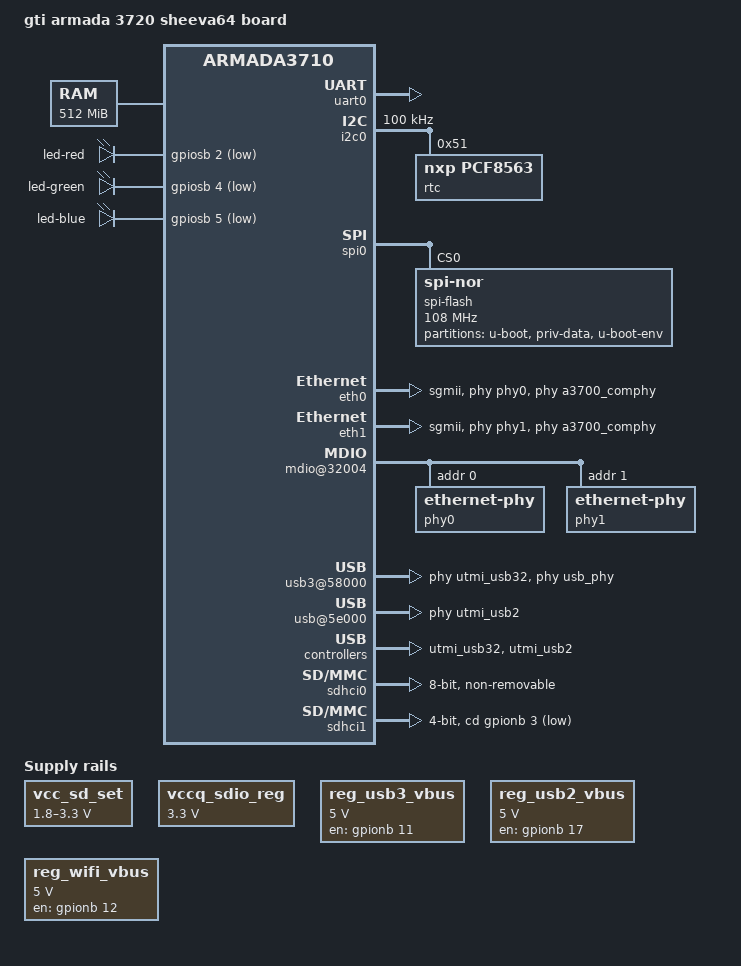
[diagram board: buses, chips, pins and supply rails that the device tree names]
/*
 * Device Tree file for GTI Armada 3720 sheeva64 board
 *
 * Device Tree file for Marvell Armada 3720 community board
 * Copyright (C) 2016 Marvell
 *
 * This file is dual-licensed: you can use it either under the terms
 * of the GPL or the X11 license, at your option. Note that this dual
 * licensing only applies to this file, and not this project as a
 * whole.
 *
 *  a) This file is free software; you can redistribute it and/or
 *     modify it under the terms of the GNU General Public License as
 *     published by the Free Software Foundation; either version 2 of the
 *     License, or (at your option) any later version.
 *
 *     This file is distributed in the hope that it will be useful
 *     but WITHOUT ANY WARRANTY; without even the implied warranty of
 *     MERCHANTABILITY or FITNESS FOR A PARTICULAR PURPOSE.  See the
 *     GNU General Public License for more details.
 *
 * Or, alternatively
 *
 *  b) Permission is hereby granted, free of charge, to any person
 *     obtaining a copy of this software and associated documentation
 *     files (the "Software"), to deal in the Software without
 *     restriction, including without limitation the rights to use
 *     copy, modify, merge, publish, distribute, sublicense, and/or
 *     sell copies of the Software, and to permit persons to whom the
 *     Software is furnished to do so, subject to the following
 *     conditions:
 *
 *     The above copyright notice and this permission notice shall be
 *     included in all copies or substantial portions of the Software.
 *
 *     THE SOFTWARE IS PROVIDED , WITHOUT WARRANTY OF ANY KIND
 *     EXPRESS OR IMPLIED, INCLUDING BUT NOT LIMITED TO THE WARRANTIES
 *     OF MERCHANTABILITY, FITNESS FOR A PARTICULAR PURPOSE AND
 *     NONINFRINGEMENT. IN NO EVENT SHALL THE AUTHORS OR COPYRIGHT
 *     HOLDERS BE LIABLE FOR ANY CLAIM, DAMAGES OR OTHER LIABILITY
 *     WHETHER IN AN ACTION OF CONTRACT, TORT OR OTHERWISE, ARISING
 *     FROM, OUT OF OR IN CONNECTION WITH THE SOFTWARE OR THE USE OR
 *     OTHER DEALINGS IN THE SOFTWARE.
 */

/dts-v1/;

#include "armada-372x.dtsi"

/ {
	model = "gti armada 3720 sheeva64 board";
	compatible = "gti,armada-3720-sheeva64-r5", "gti,armada-3720-sheeva64",
				 "marvell,armada3720", "marvell,armada3710";

	chosen {
		stdout-path = "serial0:115200n8";
	};

	memory {
		device_type = "memory";
		reg = <0x00000000 0x00000000 0x00000000 0x20000000>;
	};

	soc {
		internal-regs {
			uart0: serial@12000 {
				status = "okay";
			};

			i2c0: i2c@11000 {
				status = "okay";
				clock-frequency = <100000>;

				rtc@51 {
					compatible = "nxp,pcf8563";
					reg = <0x51>;
				};
			};

			reg_avs: avs@11500 {
				compatible = "marvell,armada-3700-espressobin-avs";
				status = "okay";
			};

			spi0: spi@10600 {
				pinctrl-names = "default";
				pinctrl-0 = <&spi_quad_pins>;
				status = "okay";

				spi-flash@0 {
					compatible = "jedec,spi-nor";
					reg = <0>;
					spi-max-frequency = <108000000>;
					spi-rx-bus-width = <4>;
					spi-tx-bus-width = <4>;
					m25p,fast-read;

					partitions {
						compatible = "fixed-partitions";
						#address-cells = <1>;
						#size-cells = <1>;
						partition@0 {
							label = "u-boot";
							reg = <0x0 0x3e0000>;
						};
						partition@3e0000 {
							label = "priv-data";
							reg = <0x3e0000 0x10000>;
							read-only;
						};
						partition@3f0000 {
							label = "u-boot-env";
							reg = <0x3f0000 0x10000>;
						};
					};
				};
			};

			eth0: ethernet@30000 {
				pinctrl-names = "default";
				pinctrl-0 = <&smi_pins>;
				phy-mode = "sgmii";
				phy = <&phy0>;
				phys = <&a3700_comphy 1 COMPHY_SGMII0>;
				phy-names = "comphy";
				status = "okay";
				buffer-manager = <&bm>;
				bm,pool-long = <1>;
				bm,pool-short = <3>;
			};

			eth1: ethernet@40000 {
				phy-mode = "sgmii";
				phy = <&phy1>;
				phys = <&a3700_comphy 0 COMPHY_SGMII1>;
				phy-names = "comphy";
				status = "okay";
				buffer-manager = <&bm>;
				bm,pool-long = <2>;
				bm,pool-short = <3>;
			};

			mdio@32004 {
				phy0: ethernet-phy@0 {
					reg = <0>;
				};
				phy1: ethernet-phy@1 {
					reg = <1>;
				};
			};

			u3d@50000 {
				status = "disabled";
				phys = <&a3700_comphy 2 COMPHY_USB3>;
				phy-names = "usb";
			};

			udc@54100 {
				status = "disabled";
				phys = <&utmi_usb32>;
				phy-names = "usb";
			};

			usb3@58000 {
				status = "okay";
				usb-phy = <&usb_phy>;
				phys = <&utmi_usb32>, /* utmi usb32 dedicated phy */
					   <&a3700_comphy 2 COMPHY_USB3>; /* usb3 comphy */
				phy-names = "usb2", "usb3";
			};

			usb@5e000 {
				status = "okay";
				phys = <&utmi_usb2>;
				phy-names = "usb";
			};

			utmi_usb32: utmi@5d000 {
				status = "okay";
			};

			utmi_usb2: utmi@5f000 {
				status = "okay";
			};

			usb_phy: usb_phy@5d800 {
				vcc-supply = <&reg_usb3_vbus>;
				status = "okay";
			};

			sdhci0: sdhci@d8000 {
				marvell,pad-type = "fixed-1-8v";
				non-removable;
				bus-width = <8>;
				mmc-ddr-1_8v;
				mmc-hs400-1_8v;
				marvell,xenon-emmc;
				marvell,xenon-tun-count = <9>;
				status = "okay";

				pinctrl-names = "default";
				pinctrl-0 = <&mmc_pins>;
			};

			sdhci1: sdhci@d0000 {
				wp-inverted;
				bus-width = <4>;
				cd-gpios = <&gpionb 3 GPIO_ACTIVE_LOW>;
				no-1-8-v;
				vqmmc-supply = <&vccq_sdio_reg>;
				marvell,pad-type = "sd";
				status = "okay";

				pinctrl-names = "default";
				pinctrl-0 = <&sdio_pins>;
			};

			vcc_sd_set: regulator@0 {
				compatible = "regulator-gpio";
				regulator-name = "vcc-sd-reg";
				regulator-min-microvolt = <1800000>;
				regulator-max-microvolt = <3300000>;
				regulator-boot-on;

				gpios = <&gpionb 4 GPIO_ACTIVE_HIGH>;
				gpios-states = <0>;
				states = <1800000 0x1 3300000 0x0>;

				enable-active-high;
			};

			vccq_sdio_reg: regulator@1 {
				compatible = "regulator-fixed";
				regulator-name = "vccq-sdio-reg";
				regulator-min-microvolt = <3300000>;
				regulator-max-microvolt = <3300000>;
				regulator-always-on;
				status = "okay";
			};

			eip97: eip97@90000 {
				status = "okay";
			};
		};
	};

	reg_usb3_vbus: usb3-vbus {
		compatible = "regulator-fixed";
		regulator-name = "usb3-vbus";
		regulator-min-microvolt = <5000000>;
		regulator-max-microvolt = <5000000>;
		enable-active-high;
		gpio = <&gpionb 11 GPIO_ACTIVE_HIGH>;
	};

	reg_usb2_vbus: usb2-vbus {
		compatible = "regulator-fixed";
		regulator-name = "usb2-vbus";
		regulator-min-microvolt = <5000000>;
		regulator-max-microvolt = <5000000>;
		enable-active-high;
		regulator-boot-on;
		regulator-always-on;
		gpio = <&gpionb 17 GPIO_ACTIVE_HIGH>;
	};

	reg_wifi_vbus: wifi-vbus {
		compatible = "regulator-fixed";
		regulator-name = "wifi-vbus";
		regulator-min-microvolt = <5000000>;
		regulator-max-microvolt = <5000000>;
		enable-active-high;
		gpio = <&gpionb 12 GPIO_ACTIVE_HIGH>;
	};

	gpio-leds {
		compatible = "gpio-leds";
		red {
			label = "led-red";
			gpios = <&gpiosb 2 GPIO_ACTIVE_LOW>;
			linux,default-trigger = "timer";
			blink_delay_off = <400>;
			blink_delay_on = <400>;
		};
		green {
			label = "led-green";
			gpios = <&gpiosb 4 GPIO_ACTIVE_LOW>;
			default-state = "off";
		};
		blue {
			label = "led-blue";
			gpios = <&gpiosb 5 GPIO_ACTIVE_LOW>;
			default-state = "off";
		};
	};

	rfkill {
		compatible = "rfkill-regulator";
		devname = "usb8997";
		type = <1>;
		vrfkill-supply = <&reg_wifi_vbus>;
	};
};
